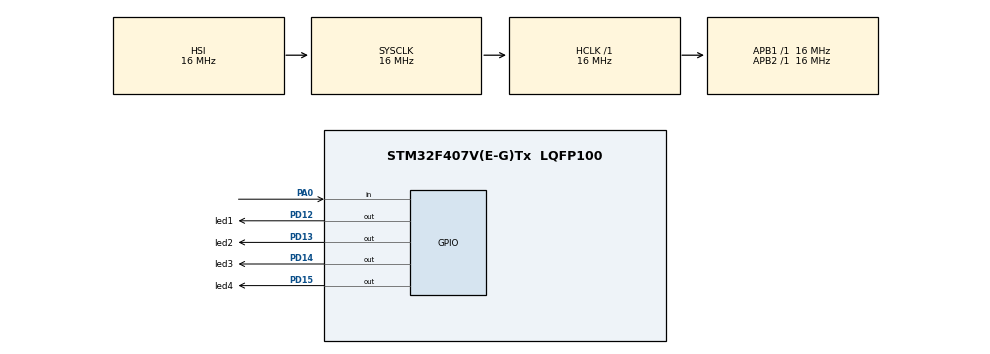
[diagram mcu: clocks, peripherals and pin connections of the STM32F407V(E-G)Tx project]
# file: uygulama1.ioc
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Mcu.Family=STM32F4
Mcu.Name=STM32F407V(E-G)Tx
Mcu.Package=LQFP100
NVIC.PriorityGroup=NVIC_PRIORITYGROUP_4
PA0-WKUP.Signal=GPIO_Input
PD12.GPIO_Label=led1
PD12.Signal=GPIO_Output
PD13.GPIO_Label=led2
PD13.Signal=GPIO_Output
PD14.GPIO_Label=led3
PD14.Signal=GPIO_Output
PD15.GPIO_Label=led4
PD15.Signal=GPIO_Output
ProjectManager.HeapSize=0x200
ProjectManager.StackSize=0x400
ProjectManager.TargetToolchain=MDK-ARM V5
RCC.AHBFreq_Value=16000000
RCC.APB1Freq_Value=16000000
RCC.APB2Freq_Value=16000000
RCC.CortexFreq_Value=16000000
RCC.HSE_VALUE=25000000
RCC.HSI_VALUE=16000000
RCC.LSE_VALUE=32768
RCC.SYSCLKFreq_VALUE=16000000
RCC.VCOOutputFreq_Value=192000000
board=uygulama1

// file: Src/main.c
/**
  ******************************************************************************
  * @file           : main.c
  * @brief          : Main program body
  ******************************************************************************
  ** This notice applies to any and all portions of this file
  * that are not between comment pairs USER CODE BEGIN and
  * USER CODE END. Other portions of this file, whether
  * inserted by the user or by software development tools
  * are owned by their respective copyright owners.
  *
  * COPYRIGHT(c) 2018 STMicroelectronics
  *
  * Redistribution and use in source and binary forms, with or without modification,
  * are permitted provided that the following conditions are met:
  *   1. Redistributions of source code must retain the above copyright notice,
  *      this list of conditions and the following disclaimer.
  *   2. Redistributions in binary form must reproduce the above copyright notice,
  *      this list of conditions and the following disclaimer in the documentation
  *      and/or other materials provided with the distribution.
  *   3. Neither the name of STMicroelectronics nor the names of its contributors
  *      may be used to endorse or promote products derived from this software
  *      without specific prior written permission.
  *
  * THIS SOFTWARE IS PROVIDED BY THE COPYRIGHT HOLDERS AND CONTRIBUTORS "AS IS"
  * AND ANY EXPRESS OR IMPLIED WARRANTIES, INCLUDING, BUT NOT LIMITED TO, THE
  * IMPLIED WARRANTIES OF MERCHANTABILITY AND FITNESS FOR A PARTICULAR PURPOSE ARE
  * DISCLAIMED. IN NO EVENT SHALL THE COPYRIGHT HOLDER OR CONTRIBUTORS BE LIABLE
  * FOR ANY DIRECT, INDIRECT, INCIDENTAL, SPECIAL, EXEMPLARY, OR CONSEQUENTIAL
  * DAMAGES (INCLUDING, BUT NOT LIMITED TO, PROCUREMENT OF SUBSTITUTE GOODS OR
  * SERVICES; LOSS OF USE, DATA, OR PROFITS; OR BUSINESS INTERRUPTION) HOWEVER
  * CAUSED AND ON ANY THEORY OF LIABILITY, WHETHER IN CONTRACT, STRICT LIABILITY,
  * OR TORT (INCLUDING NEGLIGENCE OR OTHERWISE) ARISING IN ANY WAY OUT OF THE USE
  * OF THIS SOFTWARE, EVEN IF ADVISED OF THE POSSIBILITY OF SUCH DAMAGE.
  *
  ******************************************************************************
  */
#include "main.h"
#include "stm32f4xx_hal.h"

/* USER CODE BEGIN PV */
/* Private variables ---------------------------------------------------------*/

/* USER CODE END PV */

void SystemClock_Config(void);
static void MX_GPIO_Init(void);

/* USER CODE BEGIN PFP */
/* Private function prototypes -----------------------------------------------*/

/* USER CODE END PFP */

int main(void)
{

  /* MCU Configuration----------------------------------------------------------*/

  /* Reset of all peripherals, Initializes the Flash interface and the Systick. */
  HAL_Init();
	int sayac=0;

  /* Configure the system clock */
  SystemClock_Config();

  /* Initialize all configured peripherals */
  MX_GPIO_Init();

  /* Infinite loop */
  /* USER CODE BEGIN WHILE */
  while (1)
  {

		//odev1 :

			if(HAL_GPIO_ReadPin(GPIOA,GPIO_PIN_0)){
				sayac++;
			}

	HAL_Delay(500);

		if(sayac==8){
		sayac=0;
		}

		switch (sayac){
			case 0:
						 HAL_GPIO_WritePin(GPIOD,led1_Pin|led2_Pin|led3_Pin,GPIO_PIN_RESET);
			break;
				case 1:
					 HAL_GPIO_WritePin(GPIOD,led1_Pin,GPIO_PIN_SET);
				 HAL_GPIO_WritePin(GPIOD,led1_Pin|led2_Pin|led3_Pin,GPIO_PIN_RESET);
				break;
			case 2:
				 HAL_GPIO_WritePin(GPIOD,led2_Pin,GPIO_PIN_SET);

			 HAL_GPIO_WritePin(GPIOD,led1_Pin|led3_Pin,GPIO_PIN_RESET);
				break;
			case 3:
				 HAL_GPIO_WritePin(GPIOD,led1_Pin|led2_Pin,GPIO_PIN_SET);
			 HAL_GPIO_WritePin(GPIOD,led3_Pin,GPIO_PIN_RESET);
			break;
		case 4:
			 HAL_GPIO_WritePin(GPIOD,led3_Pin,GPIO_PIN_SET);
	 HAL_GPIO_WritePin(GPIOD,led1_Pin|led2_Pin,GPIO_PIN_RESET);
		break;
		case 5:
			 HAL_GPIO_WritePin(GPIOD,led1_Pin|led3_Pin,GPIO_PIN_SET);
		 HAL_GPIO_WritePin(GPIOD,led2_Pin,GPIO_PIN_RESET);
		break;
		case 6:
			 HAL_GPIO_WritePin(GPIOD,led2_Pin|led3_Pin,GPIO_PIN_SET);
		 HAL_GPIO_WritePin(GPIOD,led3_Pin,GPIO_PIN_RESET);
		break;
		case 7 :
			 HAL_GPIO_WritePin(GPIOD,led1_Pin|led2_Pin|led3_Pin,GPIO_PIN_SET);
		break;
		default:
			 HAL_GPIO_WritePin(GPIOD,led1_Pin|led2_Pin|led3_Pin,GPIO_PIN_RESET);
		break;
		}
	HAL_Delay(500);

		//deneme : dairesel yanma
		/*
		 	HAL_GPIO_WritePin(GPIOD,GPIO_PIN_12,GPIO_PIN_SET);
		HAL_Delay(500);
			HAL_GPIO_WritePin(GPIOD,GPIO_PIN_13,GPIO_PIN_SET);
		HAL_Delay(500);

		 	HAL_GPIO_WritePin(GPIOD,GPIO_PIN_14,GPIO_PIN_SET);
		HAL_Delay(500);

		 	HAL_GPIO_WritePin(GPIOD,GPIO_PIN_15,GPIO_PIN_SET);
		HAL_Delay(500);

		 HAL_GPIO_WritePin(GPIOD,GPIO_PIN_12,GPIO_PIN_RESET);
		HAL_Delay(500);

		HAL_GPIO_WritePin(GPIOD,GPIO_PIN_13,GPIO_PIN_RESET);
		HAL_Delay(500);

		HAL_GPIO_WritePin(GPIOD,GPIO_PIN_14,GPIO_PIN_RESET);
		HAL_Delay(500);

		HAL_GPIO_WritePin(GPIOD,GPIO_PIN_15,GPIO_PIN_RESET);
		HAL_Delay(500);
		*/
		//2 :
		/*
		HAL_GPIO_TogglePin(GPIOD,GPIO_PIN_13);
	HAL_Delay(500);
		*/
		//3 :
		/*
		if(HAL_GPIO_ReadPin(GPIOA,GPIO_PIN_0)){
			HAL_GPIO_WritePin(GPIOD,GPIO_PIN_15,GPIO_PIN_SET);
		}else{
			HAL_GPIO_WritePin(GPIOD,GPIO_PIN_15,GPIO_PIN_RESET);
		}
		*/

  /* USER CODE END WHILE */

  }

}

void SystemClock_Config(void)
{

  RCC_OscInitTypeDef RCC_OscInitStruct;
  RCC_ClkInitTypeDef RCC_ClkInitStruct;

    /**Configure the main internal regulator output voltage
    */
  __HAL_RCC_PWR_CLK_ENABLE();

  __HAL_PWR_VOLTAGESCALING_CONFIG(PWR_REGULATOR_VOLTAGE_SCALE1);

    /**Initializes the CPU, AHB and APB busses clocks
    */
  RCC_OscInitStruct.OscillatorType = RCC_OSCILLATORTYPE_HSI;
  RCC_OscInitStruct.HSIState = RCC_HSI_ON;
  RCC_OscInitStruct.HSICalibrationValue = 16;
  RCC_OscInitStruct.PLL.PLLState = RCC_PLL_NONE;
  if (HAL_RCC_OscConfig(&RCC_OscInitStruct) != HAL_OK)
  {
    _Error_Handler(__FILE__, __LINE__);
  }

    /**Initializes the CPU, AHB and APB busses clocks
    */
  RCC_ClkInitStruct.ClockType = RCC_CLOCKTYPE_HCLK|RCC_CLOCKTYPE_SYSCLK
                              |RCC_CLOCKTYPE_PCLK1|RCC_CLOCKTYPE_PCLK2;
  RCC_ClkInitStruct.SYSCLKSource = RCC_SYSCLKSOURCE_HSI;
  RCC_ClkInitStruct.AHBCLKDivider = RCC_SYSCLK_DIV1;
  RCC_ClkInitStruct.APB1CLKDivider = RCC_HCLK_DIV1;
  RCC_ClkInitStruct.APB2CLKDivider = RCC_HCLK_DIV1;

  if (HAL_RCC_ClockConfig(&RCC_ClkInitStruct, FLASH_LATENCY_0) != HAL_OK)
  {
    _Error_Handler(__FILE__, __LINE__);
  }

    /**Configure the Systick interrupt time
    */
  HAL_SYSTICK_Config(HAL_RCC_GetHCLKFreq()/1000);

    /**Configure the Systick
    */
  HAL_SYSTICK_CLKSourceConfig(SYSTICK_CLKSOURCE_HCLK);

  /* SysTick_IRQn interrupt configuration */
  HAL_NVIC_SetPriority(SysTick_IRQn, 0, 0);
}

/** Configure pins as
        * Analog
        * Input
        * Output
        * EVENT_OUT
        * EXTI
*/
static void MX_GPIO_Init(void)
{

  GPIO_InitTypeDef GPIO_InitStruct;

  /* GPIO Ports Clock Enable */
  __HAL_RCC_GPIOA_CLK_ENABLE();
  __HAL_RCC_GPIOD_CLK_ENABLE();

  /*Configure GPIO pin Output Level */
  HAL_GPIO_WritePin(GPIOD, led1_Pin|led2_Pin|led3_Pin|led4_Pin, GPIO_PIN_RESET);

  /*Configure GPIO pin : PA0 */
  GPIO_InitStruct.Pin = GPIO_PIN_0;
  GPIO_InitStruct.Mode = GPIO_MODE_INPUT;
  GPIO_InitStruct.Pull = GPIO_NOPULL;
  HAL_GPIO_Init(GPIOA, &GPIO_InitStruct);

  /*Configure GPIO pins : led1_Pin led2_Pin led3_Pin led4_Pin */
  GPIO_InitStruct.Pin = led1_Pin|led2_Pin|led3_Pin|led4_Pin;
  GPIO_InitStruct.Mode = GPIO_MODE_OUTPUT_PP;
  GPIO_InitStruct.Pull = GPIO_NOPULL;
  GPIO_InitStruct.Speed = GPIO_SPEED_FREQ_LOW;
  HAL_GPIO_Init(GPIOD, &GPIO_InitStruct);

}

void _Error_Handler(char *file, int line)
{
  while(1)
  {
  }
}

/************************ (C) COPYRIGHT STMicroelectronics *****END OF FILE****/
